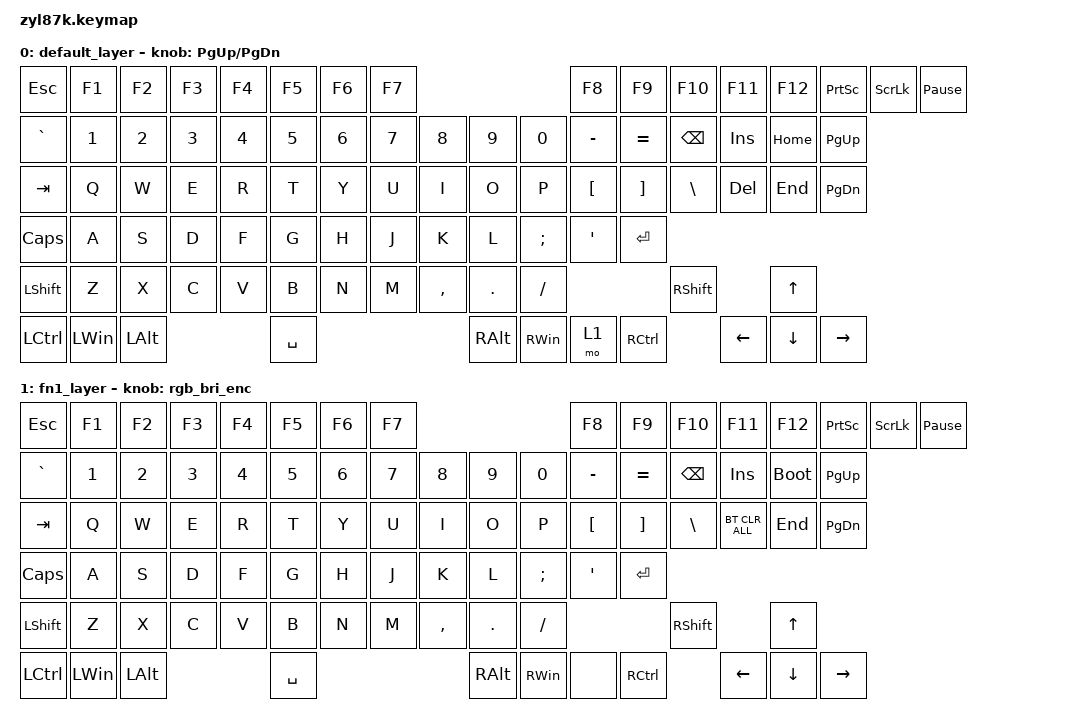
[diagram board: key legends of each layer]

#include <behaviors.dtsi>
#include <dt-bindings/zmk/bt.h>
#include <dt-bindings/zmk/keys.h>
#include <dt-bindings/zmk/rgb.h>

/ {
    behaviors {
        rgb_bri_enc: rgb_bri_enc {
            compatible = "zmk,behavior-sensor-rotate";
            #sensor-binding-cells = <0>;
            bindings = <&rgb_ug RGB_BRI>, <&rgb_ug RGB_BRD>;
        };

        //rgb_hue_enc: rgb_hue_enc {
            //compatible = "zmk,behavior-sensor-rotate";
            //#sensor-binding-cells = <0>;
            //bindings = <&rgb_ug RGB_HUI>, <&rgb_ug RGB_HUD>;
        //};
    };

    
    keymap0: keymap {
        compatible = "zmk,keymap";

        default_layer {
            bindings = <
&kp ESC               &kp F1    &kp F2    &kp F3     &kp F4          &kp F5     &kp F6     &kp F7    &kp F8    &kp F9    &kp F10    &kp F11    &kp F12   &kp PRINTSCREEN    &kp SCROLLLOCK   &kp PAUSE_BREAK 
&kp GRAVE   &kp N1    &kp N2    &kp N3    &kp N4     &kp N5  &kp N6  &kp N7     &kp N8     &kp N9    &kp N0    &kp MINUS  &kp EQUAL &kp BACKSPACE    &kp INSERT  &kp HOME  &kp PAGE_UP
&kp TAB     &kp Q     &kp W     &kp E     &kp R      &kp T   &kp Y   &kp U      &kp I      &kp O     &kp P     &kp LEFT_BRACKET   &kp RIGHT_BRACKET    &kp BACKSLASH     &kp DELETE    &kp END    &kp PAGE_DOWN
&kp CAPS    &kp A     &kp S     &kp D     &kp F      &kp G   &kp H   &kp J      &kp K      &kp L     &kp SEMI  &kp APOS        &kp ENTER   
&kp LSHFT   &kp Z     &kp X     &kp C     &kp V      &kp B   &kp N   &kp M      &kp COMMA  &kp DOT   &kp SLASH                   &kp RSHIFT                  &kp UP 
&kp LCTRL   &kp LWIN  &kp LALT                     &kp SPACE                               &kp RALT  &kp RWIN     &mo 1    &kp RCTRL          &kp LEFT  &kp DOWN  &kp RIGHT 
            >;
            sensor-bindings = <&inc_dec_kp PG_UP PG_DN>;
        };
            fn1_layer {
            bindings = <
&kp ESC               &kp F1    &kp F2    &kp F3     &kp F4          &kp F5     &kp F6     &kp F7    &kp F8    &kp F9    &kp F10    &kp F11    &kp F12  &kp PRINTSCREEN    &kp SCROLLLOCK   &kp PAUSE_BREAK 
&kp GRAVE   &kp N1    &kp N2    &kp N3    &kp N4     &kp N5  &kp N6  &kp N7     &kp N8     &kp N9    &kp N0    &kp MINUS  &kp EQUAL &kp BACKSPACE    &kp INSERT  &bootloader  &kp PAGE_UP
&kp TAB     &kp Q     &kp W     &kp E     &kp R      &kp T   &kp Y   &kp U      &kp I      &kp O     &kp P     &kp LEFT_BRACKET   &kp RIGHT_BRACKET    &kp BACKSLASH     &bt BT_CLR_ALL    &kp END    &kp PAGE_DOWN
&kp CAPS    &kp A     &kp S     &kp D     &kp F      &kp G   &kp H   &kp J      &kp K      &kp L     &kp SEMI  &kp APOS        &kp ENTER   
&kp LSHFT   &kp Z     &kp X     &kp C     &kp V      &kp B   &kp N   &kp M      &kp COMMA  &kp DOT   &kp SLASH                   &kp RSHIFT                  &kp UP 
&kp LCTRL   &kp LWIN  &kp LALT                     &kp SPACE                               &kp RALT  &kp RWIN     &none    &kp RCTRL          &kp LEFT  &kp DOWN  &kp RIGHT 
            >;
            sensor-bindings = <&rgb_bri_enc>;  // 基础层：调亮度
        };
    };
};
